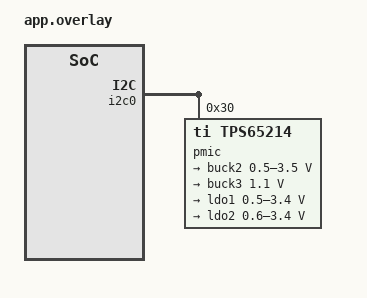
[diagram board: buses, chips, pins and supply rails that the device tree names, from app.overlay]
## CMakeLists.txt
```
# SPDX-License-Identifier: Apache-2.0

cmake_minimum_required(VERSION 3.20.0)
find_package(Zephyr REQUIRED HINTS $ENV{ZEPHYR_BASE})
project(regulator_tps6521x)

target_sources(app PRIVATE src/emul_tps6521x.c)

if(CONFIG_TPS6521X_TEST_ID_MISMATCH)
  target_sources(app PRIVATE src/id_mismatch.c)
else()
  target_sources(app PRIVATE src/main.c)
endif()
```

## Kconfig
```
# SPDX-FileCopyrightText: Copyright The Zephyr Project Contributors
# SPDX-License-Identifier: Apache-2.0

mainmenu "TPS6521x regulator test"

config TPS6521X_TEST_ID_MISMATCH
	bool "Emulate the device ID of the other variant"
	help
	  The emulated PMIC reports the TI_DEV_ID of the variant the devicetree
	  compatible does not name, so the MFD driver must refuse it.

source "Kconfig.zephyr"
```

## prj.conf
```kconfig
CONFIG_ZTEST=y
CONFIG_I2C=y
CONFIG_EMUL=y
CONFIG_REGULATOR=y
```

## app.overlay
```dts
/*
 * SPDX-License-Identifier: Apache-2.0
 */

&i2c0 {
	status = "okay";

	pmic: pmic@30 {
		compatible = "ti,tps65214";
		reg = <0x30>;

		regulators {
			compatible = "ti,tps6521x-regulator";

			buck1: BUCK1 {
				regulator-always-on;
			};

			/* wider than the hardware, to reach the range edges */
			buck2: BUCK2 {
				regulator-min-microvolt = <500000>;
				regulator-max-microvolt = <3500000>;
			};

			buck3: BUCK3 {
				regulator-boot-on;
				regulator-min-microvolt = <1100000>;
				regulator-max-microvolt = <1100000>;
				regulator-init-microvolt = <1100000>;
			};

			ldo1: LDO1 {
				regulator-min-microvolt = <500000>;
				regulator-max-microvolt = <3400000>;
			};

			ldo2: LDO2 {
				regulator-min-microvolt = <600000>;
				regulator-max-microvolt = <3400000>;
			};
		};
	};
};
```

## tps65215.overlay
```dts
/*
 * SPDX-License-Identifier: Apache-2.0
 */

&pmic {
	compatible = "ti,tps65215";
};
```

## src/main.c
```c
/*
 * SPDX-FileCopyrightText: Copyright The Zephyr Project Contributors
 * SPDX-License-Identifier: Apache-2.0
 */

#include <zephyr/devicetree.h>
#include <zephyr/drivers/emul.h>
#include <zephyr/drivers/regulator.h>
#include <zephyr/ztest.h>

#include "emul_tps6521x.h"

#define PMIC_NODE   DT_NODELABEL(pmic)
#define IS_TPS65215 DT_NODE_HAS_COMPAT(PMIC_NODE, ti_tps65215)

#define REG_ENABLE_CTRL 0x02U
#define REG_BUCK3_VOUT  0x08U
#define REG_BUCK2_VOUT  0x09U
#define REG_BUCK1_VOUT  0x0AU
#define REG_LDO1_VOUT   (IS_TPS65215 ? 0x07U : 0x05U)
#define REG_LDO2_VOUT   (IS_TPS65215 ? 0x05U : 0x06U)
#define VSET(v)         ((v) & 0x3f)
#define BUCK2_VOUT_BOOT 0xC0U

static const struct emul *emul = EMUL_DT_GET(PMIC_NODE);
static const struct device *const buck1 = DEVICE_DT_GET(DT_NODELABEL(buck1));
static const struct device *const buck2 = DEVICE_DT_GET(DT_NODELABEL(buck2));
static const struct device *const buck3 = DEVICE_DT_GET(DT_NODELABEL(buck3));
static const struct device *const ldo1 = DEVICE_DT_GET(DT_NODELABEL(ldo1));
static const struct device *const ldo2 = DEVICE_DT_GET(DT_NODELABEL(ldo2));

static void check_locked(void)
{
	struct emul_tps6521x_stats stats;

	emul_tps6521x_stats(emul, &stats);
	zassert_equal(stats.blocked_writes, 0, "a protected write hit a locked register");
	if (IS_TPS65215) {
		zassert_equal(stats.reg3_writes, 0, "TPS65215 has no REG_LOCK");
	} else {
		zassert_true(emul_tps6521x_locked(emul), "registers left unlocked");
	}
}

ZTEST(regulator_tps6521x, test_boot_state)
{
	uint8_t en = emul_tps6521x_get(emul, REG_ENABLE_CTRL);

	zassert_true(device_is_ready(buck1));
	zassert_true(device_is_ready(buck2));
	zassert_true(device_is_ready(buck3));
	zassert_true(device_is_ready(ldo1));
	/* also on TPS65214, where it is a load switch with min/max in the DT */
	zassert_true(device_is_ready(ldo2));
	zassert_true(en & BIT(0), "always-on BUCK1 not enabled at boot");
	zassert_true(en & BIT(2), "boot-on BUCK3 not enabled at boot");
	zassert_false(en & BIT(1), "BUCK2 enabled without a request");
	/* 1.1 V = 0.6 V + 20 * 25 mV */
	zassert_equal(VSET(emul_tps6521x_get(emul, REG_BUCK3_VOUT)), 0x14);
	zassert_true(regulator_is_enabled(buck1));
	zassert_true(regulator_is_enabled(buck3));
	check_locked();
}

ZTEST(regulator_tps6521x, test_enable_disable)
{
	zassert_ok(regulator_enable(buck2));
	zassert_true(emul_tps6521x_get(emul, REG_ENABLE_CTRL) & BIT(1));
	zassert_true(regulator_is_enabled(buck2));
	zassert_ok(regulator_disable(buck2));
	zassert_false(emul_tps6521x_get(emul, REG_ENABLE_CTRL) & BIT(1));
	/* the other rails keep their state */
	zassert_true(emul_tps6521x_get(emul, REG_ENABLE_CTRL) & BIT(0));
	check_locked();
}

ZTEST(regulator_tps6521x, test_ldo_enable_bits)
{
	uint8_t bit = IS_TPS65215 ? BIT(3) : BIT(5);

	zassert_ok(regulator_enable(ldo1));
	zassert_equal(emul_tps6521x_get(emul, REG_ENABLE_CTRL) & (BIT(3) | BIT(4) | BIT(5)), bit);
	zassert_ok(regulator_disable(ldo1));
	zassert_false(emul_tps6521x_get(emul, REG_ENABLE_CTRL) & bit);
}

ZTEST(regulator_tps6521x, test_buck_voltage)
{
	int32_t uv;

	zassert_ok(regulator_set_voltage(buck2, 750000, 750000));
	zassert_equal(VSET(emul_tps6521x_get(emul, REG_BUCK2_VOUT)), 0x06);
	zassert_ok(regulator_get_voltage(buck2, &uv));
	zassert_equal(uv, 750000);

	zassert_ok(regulator_set_voltage(buck2, 1800000, 1800000));
	zassert_equal(VSET(emul_tps6521x_get(emul, REG_BUCK2_VOUT)), 0x24);
	zassert_ok(regulator_set_voltage(buck2, 3400000, 3400000));
	zassert_equal(VSET(emul_tps6521x_get(emul, REG_BUCK2_VOUT)), 0x34);

	/* bandwidth and UV threshold bits are kept */
	zassert_equal(emul_tps6521x_get(emul, REG_BUCK2_VOUT) & 0xc0, 0xc0);

	/* between 1.4 V and 1.5 V nothing is available */
	zassert_equal(regulator_set_voltage(buck2, 1450000, 1450000), -EINVAL);
	check_locked();
}

ZTEST(regulator_tps6521x, test_windows_across_range_edges)
{
	int32_t uv;

	/* spans both buck ranges: linear_range picks the end of the first */
	zassert_ok(regulator_set_voltage(buck2, 1300000, 3400000));
	zassert_ok(regulator_get_voltage(buck2, &uv));
	zassert_equal(uv, 1375000);

	/* nothing between 1.375 V and 1.4 V except the edges */
	zassert_ok(regulator_set_voltage(buck2, 1380000, 1450000));
	zassert_ok(regulator_get_voltage(buck2, &uv));
	zassert_equal(uv, 1400000);

	zassert_ok(regulator_set_voltage(buck2, 500000, 650000));
	zassert_ok(regulator_get_voltage(buck2, &uv));
	zassert_equal(uv, 600000);

	zassert_ok(regulator_set_voltage(ldo1, 500000, 700000));
	zassert_ok(regulator_get_voltage(ldo1, &uv));
	zassert_equal(uv, 600000);
	zassert_ok(regulator_set_voltage(ldo1, 3000000, 3400000));
	zassert_ok(regulator_get_voltage(ldo1, &uv));
	zassert_equal(uv, IS_TPS65215 ? 3000000 : 3300000);

	zassert_equal(regulator_set_voltage(buck2, 3450000, 3500000), -EINVAL);
	check_locked();
}

ZTEST(regulator_tps6521x, test_buck_readback_clamp)
{
	int32_t uv;

	emul_tps6521x_set(emul, REG_BUCK2_VOUT, 0x3f);
	zassert_ok(regulator_get_voltage(buck2, &uv));
	zassert_equal(uv, 3400000);
}

ZTEST(regulator_tps6521x, test_buck_list)
{
	int32_t uv;

	zassert_equal(regulator_count_voltages(buck2), 53);
	zassert_ok(regulator_list_voltage(buck2, 0, &uv));
	zassert_equal(uv, 600000);
	zassert_ok(regulator_list_voltage(buck2, 31, &uv));
	zassert_equal(uv, 1375000);
	zassert_ok(regulator_list_voltage(buck2, 32, &uv));
	zassert_equal(uv, 1400000);
	zassert_ok(regulator_list_voltage(buck2, 52, &uv));
	zassert_equal(uv, 3400000);
	zassert_true(regulator_is_supported_voltage(buck2, 1375000, 1375000));
	zassert_false(regulator_is_supported_voltage(buck2, 3500000, 3500000));
}

ZTEST(regulator_tps6521x, test_ldo1_voltage)
{
	int32_t uv;

	zassert_ok(regulator_set_voltage(ldo1, 1800000, 1800000));
	zassert_equal(VSET(emul_tps6521x_get(emul, REG_LDO1_VOUT)), IS_TPS65215 ? 0x18 : 0x1a);
	zassert_ok(regulator_get_voltage(ldo1, &uv));
	zassert_equal(uv, 1800000);

	emul_tps6521x_set(emul, REG_LDO1_VOUT, 0x00);
	zassert_ok(regulator_get_voltage(ldo1, &uv));
	zassert_equal(uv, 600000);

	emul_tps6521x_set(emul, REG_LDO1_VOUT, 0x3f);
	zassert_ok(regulator_get_voltage(ldo1, &uv));
	zassert_equal(uv, IS_TPS65215 ? 3400000 : 3300000);

	zassert_equal(regulator_count_voltages(ldo1), IS_TPS65215 ? 57 : 55);
	zassert_equal(regulator_set_voltage(ldo1, 3400000, 3400000), IS_TPS65215 ? 0 : -EINVAL);
	check_locked();
}

ZTEST(regulator_tps6521x, test_ldo2)
{
	int32_t uv;

	if (!IS_TPS65215) {
		/* configured as a load switch by the emulator NVM defaults */
		zassert_equal(regulator_count_voltages(ldo2), 0);
		zassert_equal(regulator_set_voltage(ldo2, 1800000, 1800000), -ENOSYS);
		zassert_equal(regulator_get_voltage(ldo2, &uv), -ENOSYS);
		zassert_ok(regulator_enable(ldo2));
		zassert_true(emul_tps6521x_get(emul, REG_ENABLE_CTRL) & BIT(4));
		zassert_ok(regulator_disable(ldo2));
		return;
	}

	zassert_ok(regulator_set_voltage(ldo2, 1200000, 1200000));
	zassert_equal(VSET(emul_tps6521x_get(emul, REG_LDO2_VOUT)), 0x0c);
	zassert_ok(regulator_set_voltage(ldo2, 3300000, 3300000));
	zassert_equal(VSET(emul_tps6521x_get(emul, REG_LDO2_VOUT)), 0x36);
	zassert_equal(regulator_set_voltage(ldo2, 1000000, 1000000), -EINVAL);
	emul_tps6521x_set(emul, REG_LDO2_VOUT, 0x03);
	zassert_ok(regulator_get_voltage(ldo2, &uv));
	zassert_equal(uv, 1200000);
	zassert_equal(regulator_count_voltages(ldo2), 43);
	check_locked();
}

ZTEST(regulator_tps6521x, test_no_write_when_unchanged)
{
	struct emul_tps6521x_stats before;
	struct emul_tps6521x_stats after;

	zassert_ok(regulator_set_voltage(buck2, 900000, 900000));
	emul_tps6521x_stats(emul, &before);
	zassert_ok(regulator_set_voltage(buck2, 900000, 900000));
	emul_tps6521x_stats(emul, &after);
	zassert_equal(after.writes, before.writes, "unchanged value was written");
}

ZTEST(regulator_tps6521x, test_write_error_relocks)
{
	struct emul_tps6521x_stats before;
	struct emul_tps6521x_stats after;

	emul_tps6521x_stats(emul, &before);
	emul_tps6521x_fail_writes_to(emul, REG_ENABLE_CTRL);
	zassert_equal(regulator_enable(buck2), -EIO);

	zassert_false(emul_tps6521x_get(emul, REG_ENABLE_CTRL) & BIT(1));
	zassert_false(regulator_is_enabled(buck2));
	emul_tps6521x_stats(emul, &after);
	/* TPS65214: unlock and lock again; TPS65215: nothing */
	zassert_equal(after.writes - before.writes, IS_TPS65215 ? 0 : 2);
	check_locked();
}

static void after(void *fixture)
{
	ARG_UNUSED(fixture);

	emul_tps6521x_fail_writes_to(emul, -1);
	emul_tps6521x_set(emul, REG_BUCK2_VOUT, BUCK2_VOUT_BOOT);
}

ZTEST_SUITE(regulator_tps6521x, NULL, NULL, NULL, after, NULL);
```

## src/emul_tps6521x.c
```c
/*
 * SPDX-FileCopyrightText: Copyright The Zephyr Project Contributors
 * SPDX-License-Identifier: Apache-2.0
 *
 * Register-file emulator of the TPS65214 and TPS65215 PMICs. On TPS65214 it
 * models REG_LOCK: writes to protected registers are dropped unless 0x5A was
 * written to offset 0x03 (SLVSHK7A section 7.3.15). It also models the
 * interrupt flags, INT_SOURCE and nINT.
 */

#include <errno.h>
#include <string.h>

#include <zephyr/devicetree.h>
#include <zephyr/drivers/emul.h>
#include <zephyr/drivers/gpio.h>
#include <zephyr/drivers/gpio/gpio_emul.h>
#include <zephyr/drivers/i2c.h>
#include <zephyr/drivers/i2c_emul.h>
#include <zephyr/ztest_assert.h>

#include "emul_tps6521x.h"

#define PMIC_NODE   DT_NODELABEL(pmic)
#define IS_TPS65214 DT_NODE_HAS_COMPAT(PMIC_NODE, ti_tps65214)
#define HAS_NINT    DT_NODE_HAS_PROP(PMIC_NODE, int_gpios)

#define REG_GENERAL_CONFIG    0x1eU
#define REG_MFP_2_CONFIG      0x20U
#define REG_MASK_CONFIG       0x25U
#define REG_INT_SOURCE        0x2bU
#define REG_INT_FIRST         0x2cU
#define REG_INT_BUCK_3        0x2eU
#define REG_INT_TIMEOUT_RV_SD 0x32U
#define REG_INT_PB            0x33U
#define REG_INT_LAST          0x35U

#define INT_SOURCE_PB      BIT(7)
#define INT_SOURCE_BITS    7U
#define PB_FALLING_EDGE    BIT(0)
#define PB_RISING_EDGE     BIT(1)
#define PB_STATUS          BIT(2)
#define MASK_INT_FOR_PB    BIT(7)
#define MASK_EFFECT        BIT(5)
#define GENERAL_UV_BIT     BIT(5)
#define GENERAL_GPIO_OUT   BIT(1)
#define MFP_2_PIN_IS_PB    (IS_TPS65214 ? 0x00 : 0x10)
#define MFP_2_PIN_IS_EN    (IS_TPS65214 ? 0x10 : 0x00)

static const uint8_t w1c_tps65214[] = {0x00, 0x3f, 0x0f, 0xff, 0xee, 0x2f, 0xb7, 0x0b, 0xe0, 0xe1};
static const uint8_t w1c_tps65215[] = {0x07, 0x07, 0x0f, 0xff, 0xff, 0x2f, 0xaf, 0x03, 0xe0, 0xe1};

#define REG_TI_DEV_ID    0x00U
#define REG_ENABLE_CTRL  0x02U
#define REG_LOCK         0x03U
#define REG_LDO2_VOUT_14 0x06U
#define REG_BUCK2_VOUT   0x09U
#define REG_MFP_CTRL     0x29U
#define REG_USER_NVM_CMD 0x34U

#define REG_UNLOCK_CMD 0x5AU

/* TI_DEV_ID as read from a TPS6521401 on a TMDS62LEVM, and TPS6521501-Q1 per SLVUCW5 */
#define DEV_ID_TPS65214 0x14U
#define DEV_ID_TPS65215 0x95U

/* BUCK2_VOUT bandwidth and UV threshold bits, set to check they are kept */
#define BUCK2_VOUT_CONFIG_BITS 0xC0U
#define LDO2_LSW_CONFIG_14     BIT(7)

struct emul_tps6521x_data {
	uint8_t regs[EMUL_TPS6521X_NUM_REGS];
	bool locked;
	int fail_reg;
	uint8_t sticky[REG_INT_LAST - REG_INT_FIRST + 1];
	int raise_on_read_reg;
	uint8_t raise_on_read_bits;
	struct emul_tps6521x_stats stats;
};

static struct emul_tps6521x_data emul_data;

#if HAS_NINT
static const struct gpio_dt_spec nint = GPIO_DT_SPEC_GET(PMIC_NODE, int_gpios);
#endif

static bool is_int_reg(uint8_t reg)
{
	return reg >= REG_INT_FIRST && reg <= REG_INT_LAST;
}

static uint8_t w1c_mask(uint8_t reg)
{
	return IS_TPS65214 ? w1c_tps65214[reg - REG_INT_FIRST] : w1c_tps65215[reg - REG_INT_FIRST];
}

static uint8_t int_source(const struct emul_tps6521x_data *data)
{
	uint8_t source = 0;

	if ((data->regs[REG_INT_PB] & w1c_mask(REG_INT_PB)) != 0U) {
		source |= INT_SOURCE_PB;
	}
	for (uint8_t bit = 0; bit < INT_SOURCE_BITS; bit++) {
		uint8_t reg = REG_INT_TIMEOUT_RV_SD - bit;

		if ((data->regs[reg] & w1c_mask(reg)) != 0U) {
			source |= BIT(bit);
		}
	}

	return source;
}

static bool nint_asserted(const struct emul_tps6521x_data *data)
{
	uint8_t source = int_source(data);

	if ((data->regs[REG_MASK_CONFIG] & MASK_INT_FOR_PB) != 0U) {
		source &= ~INT_SOURCE_PB;
	}

	return source != 0;
}

static void update_nint(struct emul_tps6521x_data *data)
{
#if HAS_NINT
	int ret = gpio_emul_input_set(nint.port, nint.pin, nint_asserted(data) ? 0 : 1);

	zassert_true(ret == 0 || ret == -EINVAL, "nINT emulation failed (%d)", ret);
#else
	ARG_UNUSED(data);
#endif
}

static bool reg_protected(uint8_t reg)
{
	return IS_TPS65214 && reg != REG_LOCK && reg != REG_MFP_CTRL && reg != REG_USER_NVM_CMD;
}

static int reg_write(struct emul_tps6521x_data *data, uint8_t reg, uint8_t val)
{
	if (reg >= EMUL_TPS6521X_NUM_REGS) {
		return -EIO;
	}
	if (reg == data->fail_reg) {
		return -EIO;
	}

	data->stats.writes++;
	if (reg == REG_LOCK) {
		data->stats.reg3_writes++;
		if (IS_TPS65214) {
			data->locked = val != REG_UNLOCK_CMD;
			return 0;
		}
	}

	if (reg_protected(reg) && data->locked) {
		data->stats.blocked_writes++;
		return 0;
	}

	if (is_int_reg(reg)) {
		uint8_t clear = val & w1c_mask(reg) & ~data->sticky[reg - REG_INT_FIRST];

		data->stats.int_writes++;
		data->regs[reg] &= ~clear;
		update_nint(data);
		return 0;
	}

	if (reg == REG_INT_SOURCE) {
		return 0;
	}

	data->regs[reg] = val;
	if (reg == REG_MASK_CONFIG) {
		update_nint(data);
	}

	return 0;
}

static int emul_tps6521x_transfer(const struct emul *target, struct i2c_msg *msgs, int num_msgs,
				  int addr)
{
	struct emul_tps6521x_data *data = target->data;
	uint8_t reg;

	ARG_UNUSED(addr);

	if (num_msgs < 1 || (msgs[0].flags & I2C_MSG_READ) || msgs[0].len < 1) {
		return -EIO;
	}

	reg = msgs[0].buf[0];

	if (num_msgs == 1) {
		for (uint32_t i = 1; i < msgs[0].len; i++) {
			int ret = reg_write(data, reg + i - 1, msgs[0].buf[i]);

			if (ret < 0) {
				return ret;
			}
		}
		return 0;
	}

	if (num_msgs != 2 || !(msgs[1].flags & I2C_MSG_READ)) {
		return -EIO;
	}

	for (uint32_t i = 0; i < msgs[1].len; i++) {
		uint8_t r = reg + i;

		if (r >= EMUL_TPS6521X_NUM_REGS) {
			return -EIO;
		}
		if (IS_TPS65214 && r == REG_LOCK) {
			msgs[1].buf[i] = 0;
		} else if (r == REG_INT_SOURCE) {
			msgs[1].buf[i] = int_source(data);
		} else {
			msgs[1].buf[i] = data->regs[r];
		}

		if (r == data->raise_on_read_reg) {
			data->raise_on_read_reg = -1;
			data->regs[r] |= data->raise_on_read_bits;
			update_nint(data);
		}
	}

	return 0;
}

uint8_t emul_tps6521x_get(const struct emul *target, uint8_t reg)
{
	struct emul_tps6521x_data *data = target->data;

	return data->regs[reg];
}

void emul_tps6521x_set(const struct emul *target, uint8_t reg, uint8_t val)
{
	struct emul_tps6521x_data *data = target->data;

	data->regs[reg] = val;
}

bool emul_tps6521x_locked(const struct emul *target)
{
	struct emul_tps6521x_data *data = target->data;

	return data->locked;
}

void emul_tps6521x_stats(const struct emul *target, struct emul_tps6521x_stats *stats)
{
	struct emul_tps6521x_data *data = target->data;

	*stats = data->stats;
}

void emul_tps6521x_fail_writes_to(const struct emul *target, int reg)
{
	struct emul_tps6521x_data *data = target->data;

	data->fail_reg = reg;
}

void emul_tps6521x_raise(const struct emul *target, uint8_t reg, uint8_t bits)
{
	struct emul_tps6521x_data *data = target->data;

	data->regs[reg] |= bits;
	update_nint(data);
}

void emul_tps6521x_stick(const struct emul *target, uint8_t reg, uint8_t bits)
{
	struct emul_tps6521x_data *data = target->data;

	data->sticky[reg - REG_INT_FIRST] = bits;
}

void emul_tps6521x_pb_hold(const struct emul *target, bool pressed)
{
	struct emul_tps6521x_data *data = target->data;

	if (pressed) {
		data->regs[REG_INT_PB] &= ~PB_STATUS;
	} else {
		data->regs[REG_INT_PB] |= PB_STATUS;
	}
}

void emul_tps6521x_raise_on_read(const struct emul *target, uint8_t reg, uint8_t bits)
{
	struct emul_tps6521x_data *data = target->data;

	data->raise_on_read_bits = bits;
	data->raise_on_read_reg = reg;
}

void emul_tps6521x_int_reset(const struct emul *target)
{
	struct emul_tps6521x_data *data = target->data;

	memset(data->sticky, 0, sizeof(data->sticky));
	data->raise_on_read_reg = -1;
	for (uint8_t reg = REG_INT_FIRST; reg <= REG_INT_LAST; reg++) {
		data->regs[reg] &= ~w1c_mask(reg);
	}
	update_nint(data);
}

bool emul_tps6521x_nint_asserted(const struct emul *target)
{
	return nint_asserted(target->data);
}

static int emul_tps6521x_init(const struct emul *target, const struct device *parent)
{
	struct emul_tps6521x_data *data = target->data;

	ARG_UNUSED(parent);

	memset(data->regs, 0, sizeof(data->regs));
	memset(data->sticky, 0, sizeof(data->sticky));
	data->locked = true;
	data->fail_reg = -1;
	data->raise_on_read_reg = -1;

	/* the other variant's ID, for the id_mismatch scenarios */
	if (IS_ENABLED(CONFIG_TPS6521X_TEST_ID_MISMATCH)) {
		data->regs[REG_TI_DEV_ID] = IS_TPS65214 ? DEV_ID_TPS65215 : DEV_ID_TPS65214;
	} else {
		data->regs[REG_TI_DEV_ID] = IS_TPS65214 ? DEV_ID_TPS65214 : DEV_ID_TPS65215;
	}
	/* all rails off, so that always-on and boot-on are visible */
	data->regs[REG_ENABLE_CTRL] = 0x00U;
	data->regs[REG_BUCK2_VOUT] = BUCK2_VOUT_CONFIG_BITS;
	if (IS_TPS65214) {
		data->regs[REG_LDO2_VOUT_14] = LDO2_LSW_CONFIG_14;
	}

	data->regs[REG_GENERAL_CONFIG] = GENERAL_UV_BIT | GENERAL_GPIO_OUT;
#ifdef EMUL_TPS6521X_PIN_IS_EN
	data->regs[REG_MFP_2_CONFIG] = MFP_2_PIN_IS_EN;
#else
	data->regs[REG_MFP_2_CONFIG] = MFP_2_PIN_IS_PB;
#endif
	data->regs[REG_MASK_CONFIG] = MASK_INT_FOR_PB | MASK_EFFECT;
	data->regs[REG_INT_PB] = PB_STATUS;
#ifdef EMUL_TPS6521X_BOOT_FLAGS
	data->regs[REG_INT_PB] |= PB_FALLING_EDGE | PB_RISING_EDGE;
	data->regs[REG_INT_BUCK_3] = BIT(0);
#endif

	return 0;
}

static const struct i2c_emul_api emul_tps6521x_api = {
	.transfer = emul_tps6521x_transfer,
};

EMUL_DT_DEFINE(PMIC_NODE, emul_tps6521x_init, &emul_data, NULL, &emul_tps6521x_api, NULL);
```

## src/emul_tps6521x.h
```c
/*
 * SPDX-FileCopyrightText: Copyright The Zephyr Project Contributors
 * SPDX-License-Identifier: Apache-2.0
 */

#ifndef EMUL_TPS6521X_H_
#define EMUL_TPS6521X_H_

#include <stdbool.h>
#include <stdint.h>

#include <zephyr/drivers/emul.h>

#define EMUL_TPS6521X_NUM_REGS 0x40U

struct emul_tps6521x_stats {
	/* successful register writes, REG_LOCK included */
	uint32_t writes;
	uint32_t reg3_writes;
	/* TPS65214: protected writes dropped while locked */
	uint32_t blocked_writes;
};

uint8_t emul_tps6521x_get(const struct emul *target, uint8_t reg);
void emul_tps6521x_set(const struct emul *target, uint8_t reg, uint8_t val);
bool emul_tps6521x_locked(const struct emul *target);
void emul_tps6521x_stats(const struct emul *target, struct emul_tps6521x_stats *stats);
/* make writes to @p reg fail with -EIO; a negative value turns this off */
void emul_tps6521x_fail_writes_to(const struct emul *target, int reg);

#endif /* EMUL_TPS6521X_H_ */
```

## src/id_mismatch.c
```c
/*
 * SPDX-FileCopyrightText: Copyright The Zephyr Project Contributors
 * SPDX-License-Identifier: Apache-2.0
 */

#include <zephyr/device.h>
#include <zephyr/devicetree.h>
#include <zephyr/drivers/emul.h>
#include <zephyr/ztest.h>

#include "emul_tps6521x.h"

#define PMIC_NODE DT_NODELABEL(pmic)

ZTEST(regulator_tps6521x_id_mismatch, test_other_variant_is_refused)
{
	struct emul_tps6521x_stats stats;

	zassert_false(device_is_ready(DEVICE_DT_GET(PMIC_NODE)), "MFD ready on the wrong variant");
	zassert_false(device_is_ready(DEVICE_DT_GET(DT_NODELABEL(buck1))), "BUCK1 ready");
	zassert_false(device_is_ready(DEVICE_DT_GET(DT_NODELABEL(buck2))), "BUCK2 ready");
	zassert_false(device_is_ready(DEVICE_DT_GET(DT_NODELABEL(buck3))), "BUCK3 ready");
	zassert_false(device_is_ready(DEVICE_DT_GET(DT_NODELABEL(ldo1))), "LDO1 ready");
	zassert_false(device_is_ready(DEVICE_DT_GET(DT_NODELABEL(ldo2))), "LDO2 ready");

	/* no lock sequence and no rail write reached the other variant's registers */
	emul_tps6521x_stats(EMUL_DT_GET(PMIC_NODE), &stats);
	zassert_equal(stats.writes, 0U, "the PMIC was written");
}

ZTEST_SUITE(regulator_tps6521x_id_mismatch, NULL, NULL, NULL, NULL, NULL);
```
